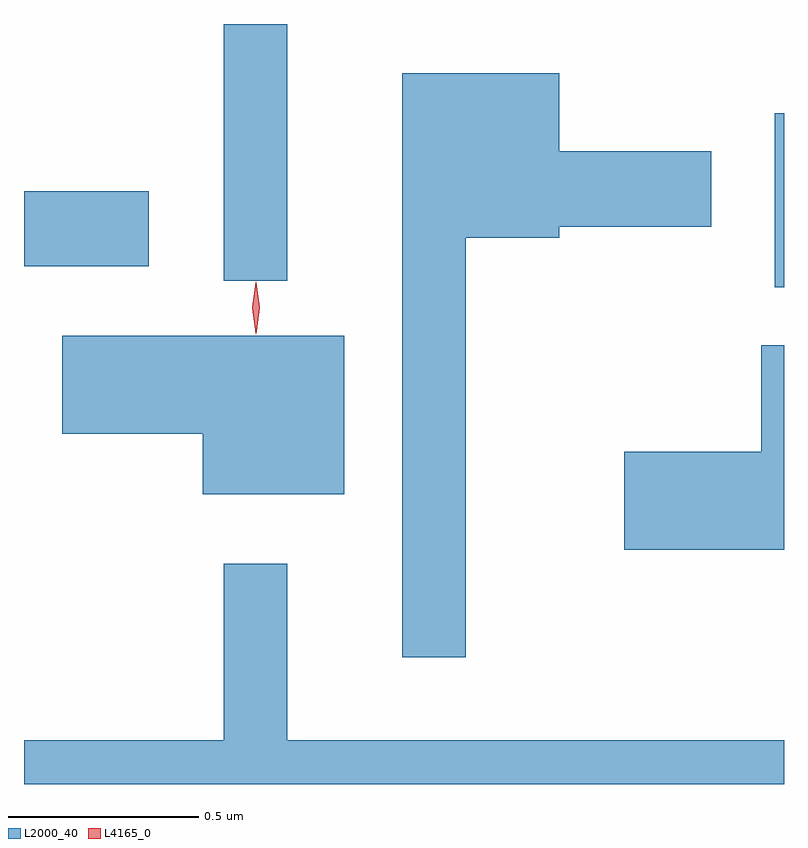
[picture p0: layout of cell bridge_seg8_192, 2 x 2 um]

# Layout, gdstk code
import gdstk
lib = gdstk.Library(unit=1e-6, precision=1e-09)
def R(c, l, rs):  # rectangles x0, y0, x1, y1
    for r in rs: c.add(gdstk.rectangle(r[:2], r[2:], *l))
def P(c, l, *ps):  # polygons
    for p in ps: c.add(gdstk.Polygon(p, *l))
L2000_40 = (2000, 40)
L4165_0 = (4165, 0)

bridge_seg8_192 = lib.new_cell('bridge_seg8_192')
R(bridge_seg8_192, L2000_40, [(1092.221,1935.556,1092.246,1936.014), (1090.771,1935.573,1090.939,1936.249), (1090.246,1935.611,1090.574,1935.809)])
P(bridge_seg8_192, L2000_40, [(1091.409,1935.686),(1091.654,1935.686),(1091.654,1935.716),(1092.054,1935.716),(1092.054,1935.914),(1091.654,1935.914),(1091.654,1936.119),(1091.241,1936.119),(1091.241,1934.583),(1091.409,1934.583)],
  [(1091.089,1935.429),(1090.346,1935.429),(1090.346,1935.171),(1090.716,1935.171),(1090.716,1935.011),(1091.089,1935.011)],
  [(1092.246,1935.404),(1092.186,1935.404),(1092.186,1935.124),(1091.826,1935.124),(1091.826,1934.866),(1092.246,1934.866)],
  [(1092.246,1934.364),(1090.939,1934.364),(1090.939,1934.828),(1090.771,1934.828),(1090.771,1934.364),(1090.246,1934.364),(1090.246,1934.249),(1092.246,1934.249)])
P(bridge_seg8_192, L4165_0, [(1090.857,1935.44),(1090.856,1935.441),(1090.847,1935.504),(1090.856,1935.566),(1090.856,1935.567),(1090.857,1935.566),(1090.866,1935.504),(1090.858,1935.441)],
  [(1090.856,1935.434),(1090.846,1935.502),(1090.856,1935.57),(1090.856,1935.57),(1090.857,1935.57),(1090.866,1935.502),(1090.857,1935.434),(1090.857,1935.434)])

lib.write_gds('bridge_seg8_192.gds')
